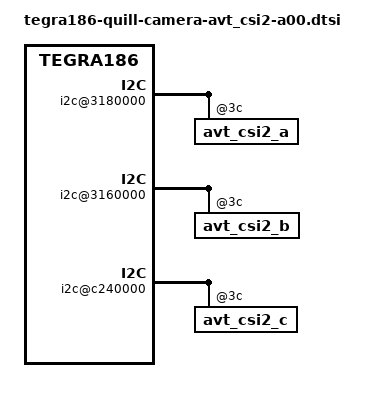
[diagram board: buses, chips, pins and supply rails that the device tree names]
/*
 * Copyright (C) 2012 - 2019 Allied Vision Technologies.  All Rights Reserved.
 *
 * This program is free software; you may redistribute it and/or modify
 * it under the terms of the GNU General Public License as published by
 * the Free Software Foundation; version 2 of the License.

 * THE SOFTWARE IS PRELIMINARY AND STILL IN TESTING AND VERIFICATION PHASE AND IS PROVIDED ON AN “AS IS” AND “AS AVAILABLE” BASIS AND IS BELIEVED TO CONTAIN DEFECTS.
 * A PRIMARY PURPOSE OF THIS EARLY ACCESS IS TO OBTAIN FEEDBACK ON PERFORMANCE AND THE IDENTIFICATION OF DEFECT SOFTWARE, HARDWARE AND DOCUMENTATION.

 * THE SOFTWARE IS PROVIDED "AS IS", WITHOUT WARRANTY OF ANY KIND,
 * EXPRESS OR IMPLIED, INCLUDING BUT NOT LIMITED TO THE WARRANTIES OF
 * MERCHANTABILITY, FITNESS FOR A PARTICULAR PURPOSE AND
 * NONINFRINGEMENT. IN NO EVENT SHALL THE AUTHORS OR COPYRIGHT HOLDERS
 * BE LIABLE FOR ANY CLAIM, DAMAGES OR OTHER LIABILITY, WHETHER IN AN
 * ACTION OF CONTRACT, TORT OR OTHERWISE, ARISING FROM, OUT OF OR IN
 * CONNECTION WITH THE SOFTWARE OR THE USE OR OTHER DEALINGS IN THE
 * SOFTWARE.
 */
#include <t18x-common-modules/tegra186-camera-avt_csi2-a00.dtsi>
#include "dt-bindings/clock/tegra186-clock.h"

#define CAM0_RST_L     TEGRA_MAIN_GPIO(R, 5)
#define CAMERA_I2C_MUX_BUS(x) (0x1E + x)

/* camera control gpio definitions */
/ {
	i2c@3180000 {
		avt_csi2_a@3c {
			clocks = <&tegra_car TEGRA186_CLK_EXTPERIPH1>,
			       <&tegra_car TEGRA186_CLK_PLLP_OUT0>;
			clock-names = "extperiph1", "pllp_grtba";
			mclk = "extperiph1";
		};
	};
};


/* camera control gpio definitions */
/ {
	i2c@3160000 {
		avt_csi2_b@3c {
			clocks = <&tegra_car TEGRA186_CLK_EXTPERIPH1>,
			       <&tegra_car TEGRA186_CLK_PLLP_OUT0>;
			clock-names = "extperiph1", "pllp_grtba";
			mclk = "extperiph1";
		};
	};
};


/* camera control gpio definitions */
/ {
	i2c@c240000 {
		avt_csi2_c@3c {
			clocks = <&tegra_car TEGRA186_CLK_EXTPERIPH2>,
					 <&tegra_car TEGRA186_CLK_PLLP_OUT0>;
			clock-names = "extperiph2", "pllp_grtba";
			mclk = "extperiph2";
		};
	};
};
